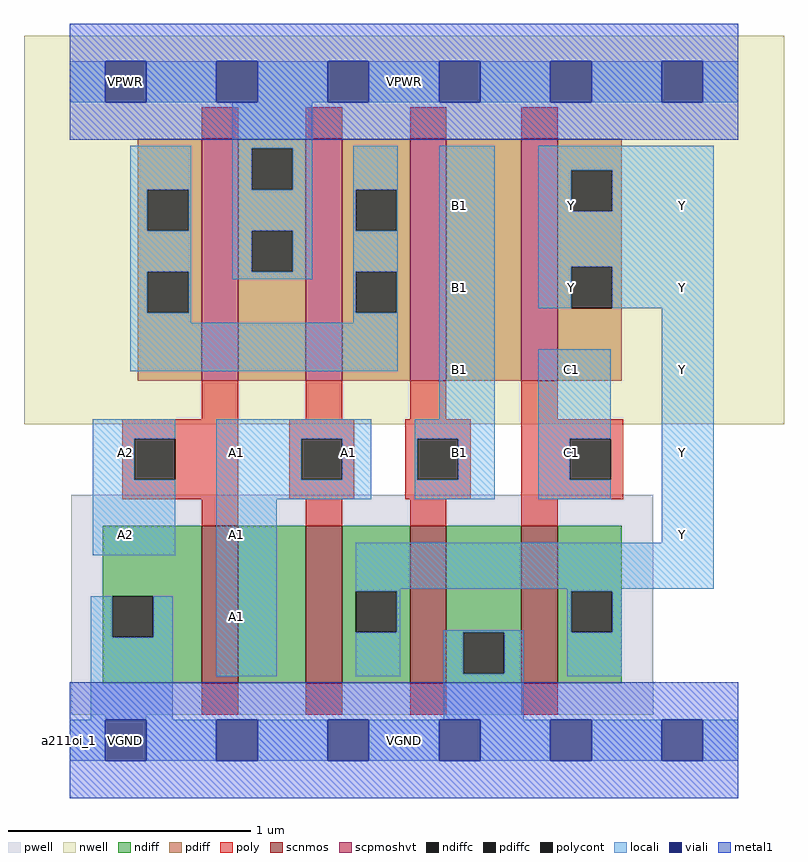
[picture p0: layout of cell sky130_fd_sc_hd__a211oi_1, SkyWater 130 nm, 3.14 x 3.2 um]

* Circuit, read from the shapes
.subckt sky130_fd_sc_hd__a211oi_1 A1 A2 B1 C1 VGND VNB VPB VPWR Y
XM1 n1 A2 VGND VNB sky130_fd_pr__nfet_01v8 w=0.65 l=0.15
XM2 Y A1 n1 VNB sky130_fd_pr__nfet_01v8 w=0.65 l=0.15
XM3 VGND B1 Y VNB sky130_fd_pr__nfet_01v8 w=0.65 l=0.15
XM4 Y C1 VGND VNB sky130_fd_pr__nfet_01v8 w=0.65 l=0.15
XM5 VPWR A2 n2 VPB sky130_fd_pr__pfet_01v8_hvt w=1 l=0.15
XM6 n2 A1 VPWR VPB sky130_fd_pr__pfet_01v8_hvt w=1 l=0.15
XM7 n3 B1 n2 VPB sky130_fd_pr__pfet_01v8_hvt w=1 l=0.15
XM8 Y C1 n3 VPB sky130_fd_pr__pfet_01v8_hvt w=1 l=0.15
.ends

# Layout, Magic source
magic
tech sky130A
magscale 1 2
<< nwell >>
rect -38 261 590 582
<< pwell >>
rect 1 21 482 203
rect 29 -17 63 21
<< scnmos >>
rect 109 47 139 177
rect 195 47 225 177
rect 281 47 311 177
rect 373 47 403 177
<< scpmoshvt >>
rect 109 297 139 497
rect 195 297 225 497
rect 281 297 311 497
rect 373 297 403 497
<< ndiff >>
rect 27 119 109 177
rect 27 85 35 119
rect 69 85 109 119
rect 27 47 109 85
rect 139 47 195 177
rect 225 123 281 177
rect 225 89 236 123
rect 270 89 281 123
rect 225 47 281 89
rect 311 89 373 177
rect 311 55 325 89
rect 359 55 373 89
rect 311 47 373 55
rect 403 123 456 177
rect 403 89 414 123
rect 448 89 456 123
rect 403 47 456 89
<< pdiff >>
rect 56 455 109 497
rect 56 421 64 455
rect 98 421 109 455
rect 56 387 109 421
rect 56 353 64 387
rect 98 353 109 387
rect 56 297 109 353
rect 139 489 195 497
rect 139 455 150 489
rect 184 455 195 489
rect 139 421 195 455
rect 139 387 150 421
rect 184 387 195 421
rect 139 297 195 387
rect 225 455 281 497
rect 225 421 236 455
rect 270 421 281 455
rect 225 387 281 421
rect 225 353 236 387
rect 270 353 281 387
rect 225 297 281 353
rect 311 297 373 497
rect 403 471 456 497
rect 403 437 414 471
rect 448 437 456 471
rect 403 391 456 437
rect 403 357 414 391
rect 448 357 456 391
rect 403 297 456 357
<< ndiffc >>
rect 35 85 69 119
rect 236 89 270 123
rect 325 55 359 89
rect 414 89 448 123
<< pdiffc >>
rect 64 421 98 455
rect 64 353 98 387
rect 150 455 184 489
rect 150 387 184 421
rect 236 421 270 455
rect 236 353 270 387
rect 414 437 448 471
rect 414 357 448 391
<< poly >>
rect 109 497 139 523
rect 195 497 225 523
rect 281 497 311 523
rect 373 497 403 523
rect 109 265 139 297
rect 195 265 225 297
rect 281 265 311 297
rect 373 265 403 297
rect 43 249 139 265
rect 43 215 53 249
rect 87 215 139 249
rect 43 199 139 215
rect 181 249 235 265
rect 181 215 191 249
rect 225 215 235 249
rect 181 199 235 215
rect 277 249 331 265
rect 277 215 287 249
rect 321 215 331 249
rect 277 199 331 215
rect 373 249 457 265
rect 373 215 413 249
rect 447 215 457 249
rect 373 199 457 215
rect 109 177 139 199
rect 195 177 225 199
rect 281 177 311 199
rect 373 177 403 199
rect 109 21 139 47
rect 195 21 225 47
rect 281 21 311 47
rect 373 21 403 47
<< polycont >>
rect 53 215 87 249
rect 191 215 225 249
rect 287 215 321 249
rect 413 215 447 249
<< locali >>
rect 0 527 29 561
rect 63 527 121 561
rect 155 527 213 561
rect 247 527 305 561
rect 339 527 397 561
rect 431 527 489 561
rect 523 527 552 561
rect 50 455 100 491
rect 50 421 64 455
rect 98 421 100 455
rect 50 387 100 421
rect 50 353 64 387
rect 98 353 100 387
rect 134 489 200 527
rect 134 455 150 489
rect 184 455 200 489
rect 134 421 200 455
rect 134 387 150 421
rect 184 387 200 421
rect 134 381 200 387
rect 234 455 271 491
rect 234 421 236 455
rect 270 421 271 455
rect 234 387 271 421
rect 50 345 100 353
rect 234 353 236 387
rect 270 353 271 387
rect 234 345 271 353
rect 50 305 271 345
rect 305 265 351 491
rect 387 471 532 491
rect 387 437 414 471
rect 448 437 532 471
rect 387 391 532 437
rect 387 357 414 391
rect 448 357 532 391
rect 19 249 87 265
rect 19 215 53 249
rect 19 153 87 215
rect 121 249 249 265
rect 121 215 191 249
rect 225 215 249 249
rect 121 199 249 215
rect 285 249 351 265
rect 285 215 287 249
rect 321 215 351 249
rect 285 199 351 215
rect 387 249 447 323
rect 387 215 413 249
rect 387 199 447 215
rect 17 85 35 119
rect 69 85 85 119
rect 17 17 85 85
rect 121 53 171 199
rect 489 163 532 357
rect 236 125 532 163
rect 236 123 273 125
rect 270 89 273 123
rect 411 123 456 125
rect 236 53 273 89
rect 309 89 375 91
rect 309 55 325 89
rect 359 55 375 89
rect 309 17 375 55
rect 411 89 414 123
rect 448 89 456 123
rect 411 53 456 89
rect 0 -17 29 17
rect 63 -17 121 17
rect 155 -17 213 17
rect 247 -17 305 17
rect 339 -17 397 17
rect 431 -17 489 17
rect 523 -17 552 17
<< viali >>
rect 29 527 63 561
rect 121 527 155 561
rect 213 527 247 561
rect 305 527 339 561
rect 397 527 431 561
rect 489 527 523 561
rect 29 -17 63 17
rect 121 -17 155 17
rect 213 -17 247 17
rect 305 -17 339 17
rect 397 -17 431 17
rect 489 -17 523 17
<< metal1 >>
rect 0 561 552 592
rect 0 527 29 561
rect 63 527 121 561
rect 155 527 213 561
rect 247 527 305 561
rect 339 527 397 561
rect 431 527 489 561
rect 523 527 552 561
rect 0 496 552 527
rect 0 17 552 48
rect 0 -17 29 17
rect 63 -17 121 17
rect 155 -17 213 17
rect 247 -17 305 17
rect 339 -17 397 17
rect 431 -17 489 17
rect 523 -17 552 17
rect 0 -48 552 -17
<< labels >>
flabel locali s 121 153 155 187 0 FreeSans 200 0 0 0 A1
port 1 nsew signal input
flabel locali s 397 221 431 255 0 FreeSans 200 0 0 0 C1
port 4 nsew signal input
flabel locali s 213 221 247 255 0 FreeSans 200 0 0 0 A1
port 1 nsew signal input
flabel locali s 305 221 339 255 0 FreeSans 200 0 0 0 B1
port 3 nsew signal input
flabel locali s 489 425 523 459 0 FreeSans 200 0 0 0 Y
port 9 nsew signal output
flabel locali s 489 357 523 391 0 FreeSans 200 0 0 0 Y
port 9 nsew signal output
flabel locali s 489 289 523 323 0 FreeSans 200 0 0 0 Y
port 9 nsew signal output
flabel locali s 489 221 523 255 0 FreeSans 200 0 0 0 Y
port 9 nsew signal output
flabel locali s 489 153 523 187 0 FreeSans 200 0 0 0 Y
port 9 nsew signal output
flabel locali s 397 425 431 459 0 FreeSans 200 0 0 0 Y
port 9 nsew signal output
flabel locali s 397 357 431 391 0 FreeSans 200 0 0 0 Y
port 9 nsew signal output
flabel locali s 29 221 63 255 0 FreeSans 200 0 0 0 A2
port 2 nsew signal input
flabel locali s 121 85 155 119 0 FreeSans 200 0 0 0 A1
port 1 nsew signal input
flabel locali s 29 153 63 187 0 FreeSans 200 0 0 0 A2
port 2 nsew signal input
flabel locali s 121 221 155 255 0 FreeSans 200 0 0 0 A1
port 1 nsew signal input
flabel locali s 305 289 339 323 0 FreeSans 200 0 0 0 B1
port 3 nsew signal input
flabel locali s 305 357 339 391 0 FreeSans 200 0 0 0 B1
port 3 nsew signal input
flabel locali s 305 425 339 459 0 FreeSans 200 0 0 0 B1
port 3 nsew signal input
flabel locali s 397 289 431 323 0 FreeSans 200 0 0 0 C1
port 4 nsew signal input
flabel metal1 s 29 527 63 561 0 FreeSans 200 0 0 0 VPWR
port 8 nsew power bidirectional abutment
flabel metal1 s 29 -17 63 17 0 FreeSans 200 0 0 0 VGND
port 5 nsew ground bidirectional abutment
flabel nwell s 29 527 63 561 0 FreeSans 200 0 0 0 VPB
port 7 nsew power bidirectional
flabel pwell s 29 -17 63 17 0 FreeSans 200 0 0 0 VNB
port 6 nsew ground bidirectional
rlabel comment s 0 0 0 0 4 a211oi_1
rlabel metal1 s 0 -48 552 48 1 VGND
port 5 nsew ground bidirectional abutment
rlabel metal1 s 0 496 552 592 1 VPWR
port 8 nsew power bidirectional abutment
<< properties >>
string FIXED_BBOX 0 0 552 544
string GDS_END 3605786
string GDS_FILE $PDKPATH/libs.ref/sky130_fd_sc_hd/gds/sky130_fd_sc_hd.gds
string GDS_START 3599138
string LEFclass CORE
string LEFsite unithd
string LEFsymmetry X Y R90
string path 0.000 13.600 13.800 13.600 
<< end >>
